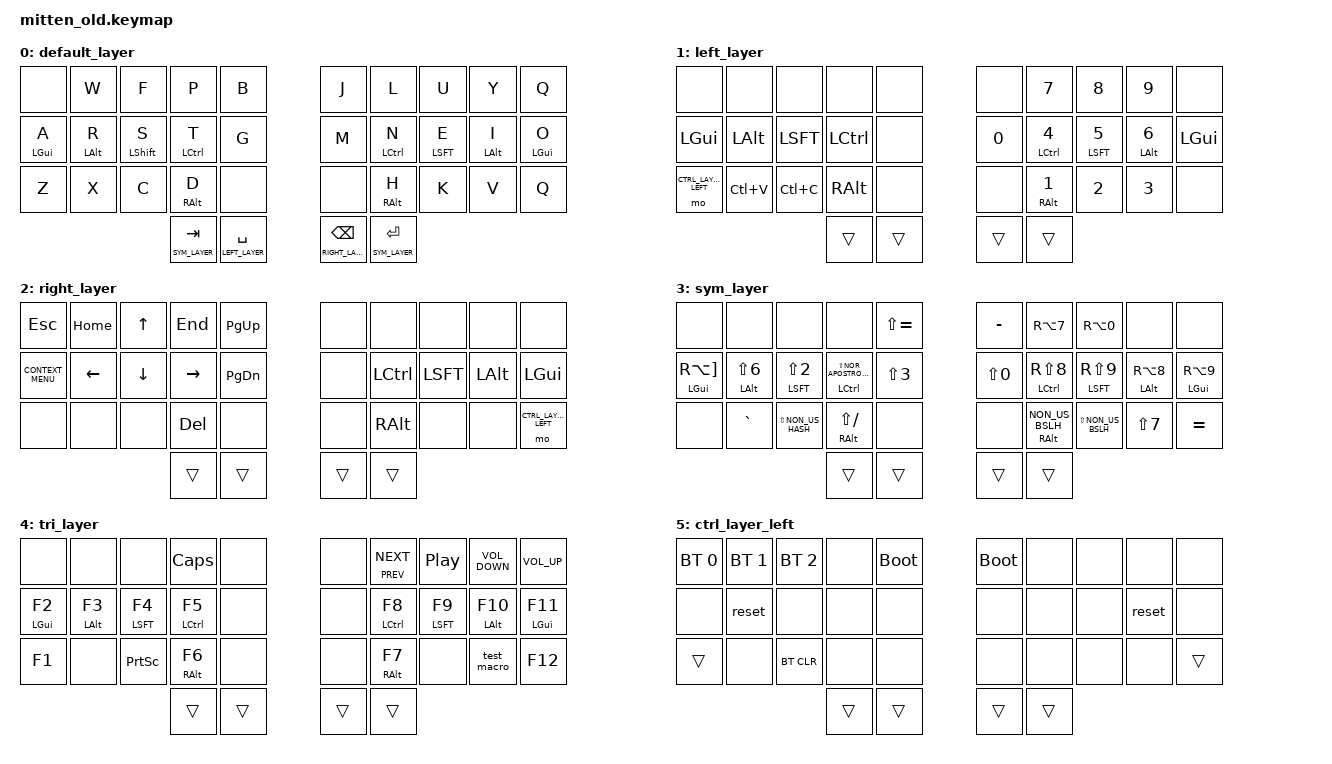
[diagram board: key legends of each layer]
/*
 * Copyright (c) 2020 The ZMK Contributors
 *
 * SPDX-License-Identifier: MIT
 */

#include <behaviors.dtsi>
#include <dt-bindings/zmk/keys.h>
#include <dt-bindings/zmk/bt.h>


#define LEFT_LAYER 1
#define RIGHT_LAYER 2
#define SYM_LAYER 3
#define THIRD_LAYER 4
#define CTRL_LAYER_LEFT 5
#define CTRL_LAYER_RIGHT 6

#define NOR_HASH LS(NUM_3)
#define NOR_TILDE RA(RIGHT_BRACKET)
#define NOR_AMPERSAND LS(NUM_6)
#define NOR_VERTICALBAR GRAVE
#define NOR_BACKTICK LS(EQUAL)
#define NOR_QUOTATION LS(NUM_2)
#define NOR_APOSTROPHE NON_US_HASH
#define NOR_STAR LS(NOR_APOSTROPHE)
#define NOR_HYPHEN SLASH
#define NOR_UNDERSCORE LS(SLASH)
#define NOR_QUESTION_MARK LS(MINUS)
#define NOR_EXCLAMATION_MARK LS(NUM_1)
#define NOR_PLUS MINUS
#define NOR_AE SINGLE_QUOTE
#define NOR_OE SEMICOLON
#define NOR_AA LEFT_BRACKET


#define TAPPING_TERM 225
#define MOD_TAP_FLAVOR "tap-preferred"
#define COMBO_TIMEOUT 30


/ { 
    conditional_layers {
        compatible = "zmk,conditional-layers";
        tri_layer {
            if-layers = <LEFT_LAYER RIGHT_LAYER>;
            then-layer = <THIRD_LAYER>;
        };
    };
	
	macros {
        test_macro: test_macro {
            label = "test_macro";
            compatible = "zmk,behavior-macro";
            #binding-cells = <0>;
			// The docs recommend a minimum of 30ms
			wait-ms = <25>;
			tap-ms = <25>;
            bindings
                = <&macro_tap &kp LS(N)>
                , <&macro_tap &kp I>
                , <&macro_tap &kp L>
                , <&macro_tap &kp S>
                , <&macro_tap &kp LS(E)>
                , <&macro_tap &kp R>
                , <&macro_tap &kp LS(K)>
                , <&macro_tap &kp U>
                , <&macro_tap &kp L>
                , <&macro_tap &kp NUM_1>
                , <&macro_tap &kp NUM_2>
                , <&macro_tap &kp NUM_3>
                , <&macro_tap &kp LS(NUM_1)>
                ;
        };
    };

    behaviors {
		mc_ht: media_control_hold_tap {
            compatible = "zmk,behavior-hold-tap";
            label = "MEDIA_CONTROL_HOLD_TAP";
            #binding-cells = <2>;
            flavor = "tap-preferred";
            tapping-term-ms = <1000>;
            bindings = <&kp>, <&kp>;
        };
		
		c_l_mt: custom_left_mod_tap {
            compatible = "zmk,behavior-hold-tap";
            label = "CUSTOM_LEFT_MOD_TAP";
            #binding-cells = <2>;
            flavor = MOD_TAP_FLAVOR;
            tapping-term-ms = <TAPPING_TERM>;
            bindings = <&kp>, <&kp>;
			// Now include all the right hand keys
            hold-trigger-key-positions = <5 6 7 8 9 15 16 17 18 19 25 26 27 28 29 32 33
			// Add the same-hand mod keys 
				10 11 12 13>;
        };
		c_r_mt: custom_right_mod_tap {
            compatible = "zmk,behavior-hold-tap";
            label = "CUSTOM_RIGHT_MOD_TAP";
            #binding-cells = <2>;
            flavor = MOD_TAP_FLAVOR;
            tapping-term-ms = <TAPPING_TERM>;
            bindings = <&kp>, <&kp>;
			// Now include all the left hand keys
            hold-trigger-key-positions = <0 1 2 3 4 10 11 12 13 14 20 21 22 23 24 30 31
			// Add the same-hand mod keys 
				16 17 18 19>;
        };
    };
	
	combos {
        compatible = "zmk,combos";
        combo_AE {
            timeout-ms = <COMBO_TIMEOUT>;
            key-positions = <2 3>;
            bindings = <&kp NOR_AE>;
			layers = <0>;
        };
		combo_NorOE {
            timeout-ms = <COMBO_TIMEOUT>;
            key-positions = <11 12>;
            bindings = <&c_l_mt LA(LSHIFT) NOR_OE>;
			layers = <0>;
        };
		combo_Comma {
            timeout-ms = <COMBO_TIMEOUT>;
            key-positions = <12 13>;
            bindings = <&c_l_mt LS(LCTL) COMMA>;
			layers = <0>;
        };
		combo_Apostrophe {
            timeout-ms = <COMBO_TIMEOUT>;
            key-positions = <21 22>;
            bindings = <&kp NOR_APOSTROPHE>;
			layers = <0>;
        };
		combo_Exclamation {
            timeout-ms = <COMBO_TIMEOUT>;
            key-positions = <22 23>;
            bindings = <&c_l_mt RALT NOR_EXCLAMATION_MARK>;
			layers = <0>;
        };
	
		combo_Period {
            timeout-ms = <COMBO_TIMEOUT>;
            key-positions = <16 17>;
            bindings = <&c_r_mt LC(LSHIFT) PERIOD>;
			layers = <0>;
        };
		combo_NorAA {
            timeout-ms = <COMBO_TIMEOUT>;
            key-positions = <17 18>;
            bindings = <&c_r_mt LS(LALT) NOR_AA>;
			layers = <0>;
        };
		combo_Question {
            timeout-ms = <COMBO_TIMEOUT>;
            key-positions = <26 27>;
            bindings = <&c_r_mt RALT NOR_QUESTION_MARK>;
			layers = <0>;
        };
		combo_Hyphen {
            timeout-ms = <COMBO_TIMEOUT>;
            key-positions = <27 28>;
            bindings = <&kp NOR_HYPHEN>;
			layers = <0>;
        };

		
    };

	keymap {
		compatible = "zmk,keymap";
                
        default_layer {
        bindings = <
		// 0           1      	      2                3                 4							5                    6                   7              8              9
		&none          &kp W      	  &kp F            &kp P             &kp B						&kp J                &kp L               &kp U          &kp Y          &kp Q
		// 10          11      	      12               13                14							15                   16                  17             18             19
		&c_l_mt LGUI A &c_r_mt LALT R &c_l_mt LSHIFT S &c_l_mt LCTL T    &kp G 			    		&kp M                &c_r_mt LCTL N      &c_r_mt LSFT E &c_r_mt LALT I &c_r_mt LGUI O
		// 20          21      	      22               23                24							25                   26                  27             28             29
		&kp Z          &kp X          &kp C            &c_l_mt RALT D    &none		                &none                &c_r_mt RALT H      &kp K          &kp V          &kp Q
		//                                             30                31							32					 33
          				                               &lt SYM_LAYER TAB &lt LEFT_LAYER SPC      	&lt RIGHT_LAYER BSPC &lt SYM_LAYER ENTER
		>;
		};

 		left_layer {
		bindings = <
		&none    			&none     &none     &none    &none 		&none     &kp NUM_7          &kp NUM_8          &kp NUM_9          &none
		&kp LGUI            &kp LALT  &kp LSFT  &kp LCTL &none		&kp NUM_0 &c_r_mt LCTL NUM_4 &c_r_mt LSFT NUM_5 &c_r_mt LALT NUM_6 &kp LGUI
		&mo CTRL_LAYER_LEFT &kp LC(V) &kp LC(C) &kp RALT &none 		&none     &c_r_mt RALT NUM_1 &kp NUM_2          &kp NUM_3          &none
												&trans	 &trans	  	&trans    &trans
		>;
		};
		
		right_layer {
		bindings = <
		&kp ESC            &kp HOME &kp UP   &kp END    &kp PAGE_UP    	    &none  &none    &none    &none    &none 
		&kp K_CONTEXT_MENU &kp LEFT &kp DOWN &kp RIGHT  &kp PAGE_DOWN	 	&none  &kp LCTL &kp LSFT &kp LALT &kp LGUI
		&none              &none    &none    &kp DELETE &none	    	    &none  &kp RALT &none    &none    &mo CTRL_LAYER_LEFT
										     &trans     &trans  		    &trans &trans
		>;
		};

		sym_layer {
		bindings = <
		&none                  &none                      &none                      &none                       &kp NOR_BACKTICK 		&kp NOR_PLUS  &kp RA(NUM_7)            &kp RA(NUM_0)          &none                  &none
		&c_l_mt LGUI NOR_TILDE &c_l_mt LALT NOR_AMPERSAND &c_l_mt LSFT NOR_QUOTATION &c_l_mt LCTL NOR_STAR       &kp NOR_HASH   		&kp LS(NUM_0) &c_r_mt LCTL RS(NUM_8)   &c_r_mt LSFT RS(NUM_9) &c_r_mt LALT RA(NUM_8) &c_r_mt LGUI RA(NUM_9)
		&none                  &kp NOR_VERTICALBAR        &kp LS(NON_US_HASH)        &c_l_mt RALT NOR_UNDERSCORE &none 					&none         &c_r_mt RALT NON_US_BSLH &kp LS(NON_US_BSLH)    &kp LS(NUM_7)          &kp EQUAL
																				     &trans 		             &trans	  				&trans        &trans
		>;
		};		
		
		tri_layer {
		bindings = <
		&none           &none           &none           &kp CAPS        &none	    	&none  &mc_ht C_PREV C_NEXT &kp C_PLAY_PAUSE &kp C_VOLUME_DOWN &kp C_VOLUME_UP
		&c_l_mt LGUI F2 &c_l_mt LALT F3 &c_l_mt LSFT F4 &c_l_mt LCTL F5 &none			&none  &c_r_mt LCTL F8      &c_r_mt LSFT F9  &c_r_mt LALT F10  &c_r_mt LGUI F11 
		&kp F1          &none 		    &kp PRINTSCREEN &c_l_mt RALT F6 &none 			&none  &c_r_mt RALT F7      &none	         &test_macro 	   &kp F12   
											            &trans          &trans			&trans &trans
		>;
		};
		
		ctrl_layer_left {
		bindings = <
		&bt BT_SEL 0 &bt BT_SEL 1 &bt BT_SEL 2 &none  &bootloader	    	&bootloader &none &none &none  &none
		&none        &reset       &none        &none  &none 				&none 		&none &none &reset &none 
		&trans       &none 	      &bt BT_CLR   &none  &none 	    		&none 		&none &none &none  &trans
										       &trans &trans	    		&trans 		&trans
		>;
		};
		
	};
};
